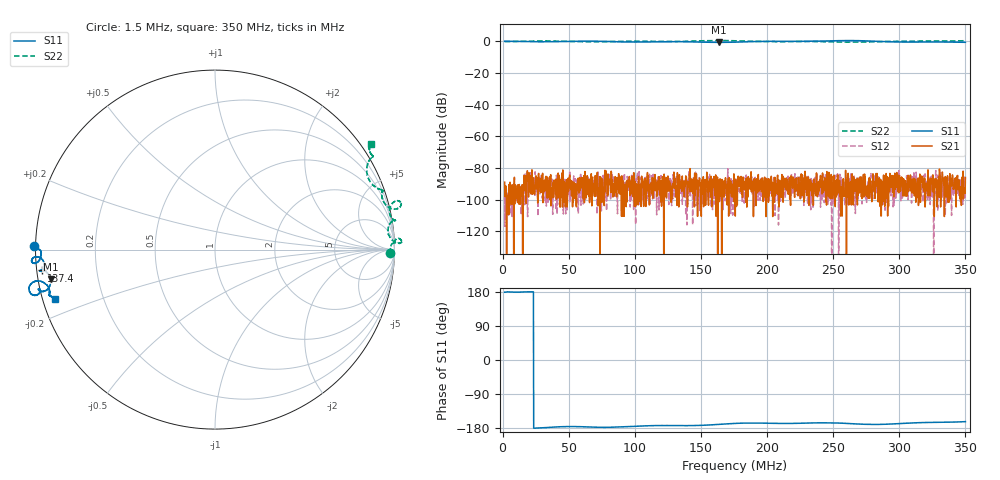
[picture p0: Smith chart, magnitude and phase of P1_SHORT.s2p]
# Hz S RI R 50
! RAW DATA - UNCALIBRATED
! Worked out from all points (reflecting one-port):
!   1601 points, 1.5 MHz to 350 MHz, reference 50 ohm
!   lowest |S11| = -0.6 dB at 163.6 MHz (marker M1), VSWR 27.86, Z = 1.81 - j4.43 ohm
!   phase of S11 starts at 179 deg and turns +18 deg over the sweep
!   S11 on the Smith chart (normalised r, x): 1.5 MHz: -0.01, +0.01; 137.4 MHz: 0.01, -0.06; 350 MHz: 0.04, -0.15
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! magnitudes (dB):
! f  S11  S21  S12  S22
! 1.5 MHz  0.1  -89.0  -98.9  -0.2
! 32.21 MHz  -0.3  -91.0  -94.4  0.4
! 40.05 MHz  -0.2  -94.7  -96.9  0.3
! 59.66 MHz  0.2  -92.3  -92.7  -0.2
! 72.29 MHz  0.1  -103.8  -82.6  -0.2
! 96.47 MHz  -0.4  -90.1  -104.7  0.1
! 117.8 MHz  -0.2  -93.7  -87.4  0.0
! 128.5 MHz  -0.2  -90.2  -96.6  -0.1
! 137.4 MHz  -0.2  -98.3  -94.7  0.1
! 155.1 MHz  -0.6  -94.9  -89.4  0.5
! 163.6 MHz  -0.6  -101.4  -95.9  0.6
! 175.8 MHz  -0.5  -90.3  -100.8  0.4
! 191.4 MHz  -0.1  -92.1  -94.8  0.0
! 201.5 MHz  0.1  -97.7  -87.4  -0.2
! 233.9 MHz  0.1  -97.5  -91.0  -0.1
! 253.7 MHz  0.4  -94.3  -90.3  -0.4
! 264 MHz  0.5  -87.7  -86.6  -0.5
! 277 MHz  0.2  -97.3  -96.4  -0.4
! 292.1 MHz  -0.2  -90.3  -91.4  0.0
! 303.4 MHz  -0.4  -89.1  -93.9  0.2
! 333 MHz  -0.4  -86.0  -87.7  0.2
! 350 MHz  -0.6  -86.0  -89.2  0.4
